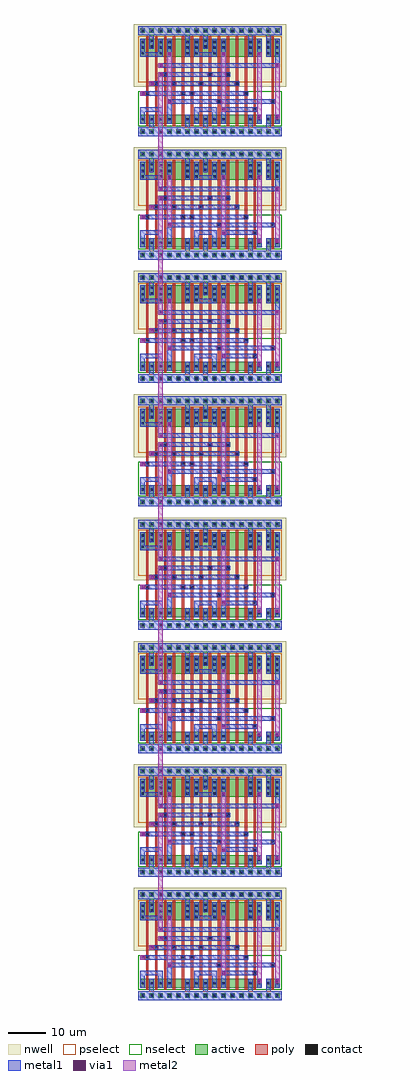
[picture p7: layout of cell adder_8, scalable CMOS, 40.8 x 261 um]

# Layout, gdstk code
import gdstk
lib = gdstk.Library(unit=1e-6, precision=1e-09)
def R(c, l, rs):  # rectangles x0, y0, x1, y1
    for r in rs: c.add(gdstk.rectangle(r[:2], r[2:], *l))
def A(c, l, x, y, w, h, nx, ny, dx, dy):  # array of equal rectangles
    R(c, l, [(x+i*dx, y+j*dy, x+i*dx+w, y+j*dy+h) for i in range(nx) for j in range(ny)])
def P(c, l, *ps):  # polygons
    for p in ps: c.add(gdstk.Polygon(p, *l))
contact = (25, 0)
nwell = (42, 0)
active = (43, 0)
pselect = (44, 0)
nselect = (45, 0)
poly = (46, 0)
metal1 = (49, 0)
via1 = (50, 0)
metal2 = (51, 0)

fulladder = lib.new_cell('fulladder')
A(fulladder, contact, 0.9, -0.3, 0.6, 0.6, 16, 2, 2.4, 27)
A(fulladder, contact, 0.9, 3, 0.6, 0.6, 4, 1, 2.4, 0)
A(fulladder, contact, 12.9, 3, 0.6, 0.6, 5, 1, 2.4, 0)
A(fulladder, contact, 29.7, 3, 0.6, 0.6, 4, 2, 2.4, 17.7)
A(fulladder, contact, 0.9, 20.7, 0.6, 0.6, 1, 3, 0, 1.5)
A(fulladder, contact, 5.7, 20.7, 0.6, 0.6, 1, 3, 0, 1.5)
A(fulladder, contact, 8.1, 20.7, 0.6, 0.6, 1, 3, 0, 1.5)
A(fulladder, contact, 12.9, 20.7, 0.6, 0.6, 1, 3, 0, 1.5)
A(fulladder, contact, 15.3, 20.7, 0.6, 0.6, 1, 3, 0, 1.5)
A(fulladder, contact, 20.1, 20.7, 0.6, 0.6, 1, 3, 0, 1.5)
A(fulladder, contact, 22.5, 20.7, 0.6, 0.6, 1, 3, 0, 1.5)
A(fulladder, contact, 29.7, 22.2, 0.6, 0.6, 4, 2, 2.4, 1.5)
R(fulladder, contact, [(30.9,5.7,31.5,6.3), (21.3,7.8,21.9,8.4), (35.7,7.8,36.3,8.4), (2.1,9.9,2.7,10.5), (11.7,9.9,12.3,10.5), (14.1,9.9,14.7,10.5), (28.5,9.9,29.1,10.5), (4.5,12.6,5.1,13.2), (9.3,12.6,9.9,13.2), (16.5,12.6,17.1,13.2), (26.1,12.6,26.7,13.2), (6.9,15,7.5,15.6), (18.9,15,19.5,15.6), (23.7,15,24.3,15.6), (3.3,22.5,3.9,23.1), (17.7,22.5,18.3,23.1), (3.3,24,3.9,24.6), (17.7,24,18.3,24.6)])
R(fulladder, nwell, [(-1.2,12,39.6,28.8)])
A(fulladder, active, 0.6, -0.6, 1.2, 1.2, 16, 2, 2.4, 27)
R(fulladder, active, [(0.6,2.1,33,4.5), (34.2,2.1,37.8,4.5), (0.6,20.1,33,24.9), (34.2,20.1,37.8,24.9)])
R(fulladder, pselect, [(0,-1.2,38.4,1.2), (0,13.2,38.4,25.5)])
R(fulladder, nselect, [(0,1.5,38.4,10.8), (0,1.5,38.4,10.8), (0,25.8,38.4,28.2)])
P(fulladder, poly, [(3,10.8),(2.7,10.8),(2.7,25.5),(2.1,25.5),(2.1,10.8),(1.8,10.8),(1.8,9.6),(2.1,9.6),(2.1,1.5),(2.7,1.5),(2.7,9.6),(3,9.6)],
  [(5.4,13.5),(5.1,13.5),(5.1,25.5),(4.5,25.5),(4.5,13.5),(4.2,13.5),(4.2,12.3),(4.5,12.3),(4.5,1.5),(5.1,1.5),(5.1,12.3),(5.4,12.3)],
  [(7.8,15.9),(7.5,15.9),(7.5,25.5),(6.9,25.5),(6.9,15.9),(6.6,15.9),(6.6,14.7),(6.9,14.7),(6.9,1.5),(7.5,1.5),(7.5,14.7),(7.8,14.7)],
  [(10.2,13.5),(9.9,13.5),(9.9,25.5),(9.3,25.5),(9.3,13.5),(9,13.5),(9,12.3),(9.3,12.3),(9.3,1.5),(9.9,1.5),(9.9,12.3),(10.2,12.3)],
  [(12.6,10.8),(12.3,10.8),(12.3,25.5),(11.7,25.5),(11.7,10.8),(11.4,10.8),(11.4,9.6),(11.7,9.6),(11.7,1.5),(12.3,1.5),(12.3,9.6),(12.6,9.6)],
  [(15,10.8),(14.7,10.8),(14.7,25.5),(14.1,25.5),(14.1,10.8),(13.8,10.8),(13.8,9.6),(14.1,9.6),(14.1,1.5),(14.7,1.5),(14.7,9.6),(15,9.6)],
  [(17.4,13.5),(17.1,13.5),(17.1,25.5),(16.5,25.5),(16.5,13.5),(16.2,13.5),(16.2,12.3),(16.5,12.3),(16.5,1.5),(17.1,1.5),(17.1,12.3),(17.4,12.3)],
  [(19.8,15.9),(19.5,15.9),(19.5,25.5),(18.9,25.5),(18.9,15.9),(18.6,15.9),(18.6,14.7),(18.9,14.7),(18.9,1.5),(19.5,1.5),(19.5,14.7),(19.8,14.7)],
  [(22.2,8.7),(21.9,8.7),(21.9,25.5),(21.3,25.5),(21.3,8.7),(21,8.7),(21,7.5),(21.3,7.5),(21.3,1.5),(21.9,1.5),(21.9,7.5),(22.2,7.5)],
  [(24.6,15.9),(24.3,15.9),(24.3,25.5),(23.7,25.5),(23.7,15.9),(23.4,15.9),(23.4,14.7),(23.7,14.7),(23.7,1.5),(24.3,1.5),(24.3,14.7),(24.6,14.7)],
  [(27,13.5),(26.7,13.5),(26.7,25.5),(26.1,25.5),(26.1,13.5),(25.8,13.5),(25.8,12.3),(26.1,12.3),(26.1,1.5),(26.7,1.5),(26.7,12.3),(27,12.3)],
  [(29.4,10.8),(29.1,10.8),(29.1,25.5),(28.5,25.5),(28.5,10.8),(28.2,10.8),(28.2,9.6),(28.5,9.6),(28.5,1.5),(29.1,1.5),(29.1,9.6),(29.4,9.6)],
  [(31.8,6.6),(31.5,6.6),(31.5,25.5),(30.9,25.5),(30.9,6.6),(30.6,6.6),(30.6,5.4),(30.9,5.4),(30.9,1.5),(31.5,1.5),(31.5,5.4),(31.8,5.4)],
  [(36.6,8.7),(36.3,8.7),(36.3,25.5),(35.7,25.5),(35.7,8.7),(35.4,8.7),(35.4,7.5),(35.7,7.5),(35.7,1.5),(36.3,1.5),(36.3,7.5),(36.6,7.5)])
R(fulladder, metal1, [(0,-1.2,38.4,1.2), (31.8,2.1,33,4.5), (36.6,2.1,37.8,4.5), (0.6,9.6,29.4,10.8), (3,12.3,27,13.5), (5.4,14.7,24.6,15.9), (7.8,20.1,9,24.9), (22.2,20.1,23.4,24.9), (31.8,20.1,33,24.9), (0,25.8,38.4,28.2)])
P(fulladder, metal1, [(6.6,24.9),(5.4,24.9),(5.4,21.3),(1.8,21.3),(1.8,24.9),(0.6,24.9),(0.6,20.1),(6.6,20.1)],
  [(6.6,6.6),(0.6,6.6),(0.6,2.1),(1.8,2.1),(1.8,5.4),(5.4,5.4),(5.4,2.1),(6.6,2.1)],
  [(21,24.9),(19.8,24.9),(19.8,21.3),(16.2,21.3),(16.2,24.9),(15,24.9),(15,20.1),(21,20.1)],
  [(21,6.6),(15,6.6),(15,2.1),(16.2,2.1),(16.2,5.4),(19.8,5.4),(19.8,2.1),(21,2.1)],
  [(31.8,6.6),(22.2,6.6),(22.2,2.1),(23.4,2.1),(23.4,5.4),(31.8,5.4)],
  [(36.6,8.7),(7.8,8.7),(7.8,2.1),(9,2.1),(9,7.5),(36.6,7.5)],
  [(37.8,24.9),(36.6,24.9),(36.6,18.3),(5.4,18.3),(5.4,17.1),(37.8,17.1)],
  [(38.4,28.2),(0,28.2),(0,25.8),(3,25.8),(3,22.2),(4.2,22.2),(4.2,25.8),(12.6,25.8),(12.6,20.1),(13.8,20.1),(13.8,25.8),(17.4,25.8),(17.4,22.2),(18.6,22.2),(18.6,25.8),(29.4,25.8),(29.4,20.1),(30.6,20.1),(30.6,25.8),(34.2,25.8),(34.2,20.1),(35.4,20.1),(35.4,25.8),(38.4,25.8)],
  [(38.4,1.2),(35.4,1.2),(35.4,4.5),(34.2,4.5),(34.2,1.2),(30.6,1.2),(30.6,4.5),(29.4,4.5),(29.4,1.2),(18.6,1.2),(18.6,4.5),(17.4,4.5),(17.4,1.2),(13.8,1.2),(13.8,4.5),(12.6,4.5),(12.6,1.2),(4.2,1.2),(4.2,4.5),(3,4.5),(3,1.2),(0,1.2),(0,-1.2),(38.4,-1.2)])
R(fulladder, via1, [(32.1,3.6,32.7,4.2), (36.9,3.6,37.5,4.2), (22.5,5.7,23.1,6.3), (8.1,7.8,8.7,8.4), (0.9,9.9,1.5,10.5), (3.3,12.6,3.9,13.2), (5.7,15,6.3,15.6), (5.7,17.4,6.3,18), (36.9,17.4,37.5,18), (8.1,20.4,8.7,21), (22.5,20.4,23.1,21), (32.1,20.4,32.7,21)])
R(fulladder, metal2, [(31.8,3.3,33,21.3), (31.8,3.3,33,4.5), (36.6,3.3,37.8,18.3), (22.2,5.4,23.4,21.3), (7.8,7.5,9,21.3), (0.6,9.6,1.8,10.8), (3,12.3,4.2,13.5), (5.4,14.7,6.6,15.9), (5.4,17.1,6.6,18.3)])

adder_8 = lib.new_cell('adder_8')
R(adder_8, metal1, [(0,-1.2,38.4,1.2), (0,25.8,38.4,28.2), (0,31.8,38.4,34.2), (0,58.8,38.4,61.2), (0,64.8,38.4,67.2), (0,91.8,38.4,94.2), (0,97.8,38.4,100.2), (0,124.8,38.4,127.2), (0,130.8,38.4,133.2), (0,157.8,38.4,160.2), (0,163.8,38.4,166.2), (0,190.8,38.4,193.2), (0,196.8,38.4,199.2), (0,223.8,38.4,226.2), (0,229.8,38.4,232.2), (0,256.8,38.4,259.2)])
A(adder_8, metal2, 31.8, 3.3, 1.2, 1.2, 1, 8, 0, 33)
A(adder_8, metal2, 0.6, 9.6, 1.2, 1.2, 1, 8, 0, 33)
A(adder_8, metal2, 3, 12.3, 1.2, 1.2, 1, 8, 0, 33)
A(adder_8, metal2, 5.4, 17.1, 1.2, 31.8, 1, 7, 0, 33)
R(adder_8, metal2, [(5.4,14.7,6.6,15.9), (5.4,248.1,6.6,249.3)])
r = gdstk.Reference(fulladder, (0,0)); r.repetition = gdstk.Repetition(1, 8, v1=(40.8,0), v2=(0,33)); adder_8.add(r)

lib.write_gds('adder_8.gds')
